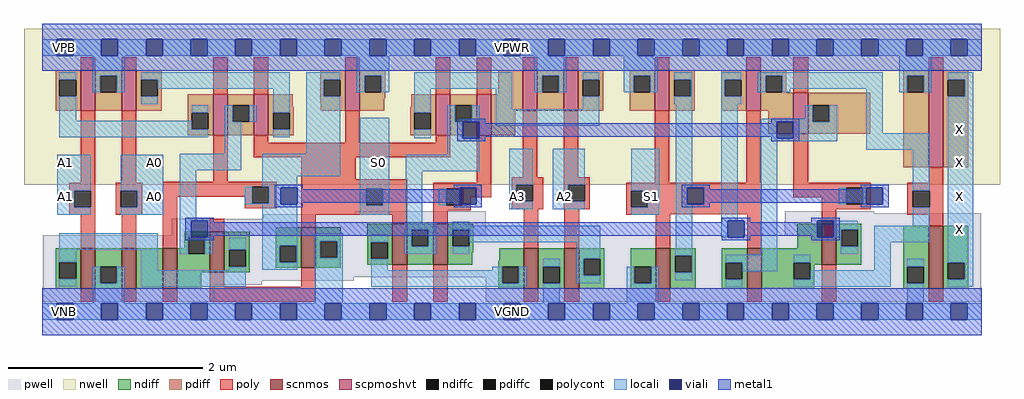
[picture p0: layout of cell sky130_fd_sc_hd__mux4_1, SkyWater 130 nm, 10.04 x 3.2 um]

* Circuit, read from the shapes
.subckt sky130_fd_sc_hd__mux4_1 A0 A1 A2 A3 S0 S1 VGND VNB VPB VPWR X
XM1 VGND A1 n1 VNB sky130_fd_pr__nfet_01v8 w=0.42 l=0.15
XM2 n2 A0 VGND VNB sky130_fd_pr__nfet_01v8 w=0.42 l=0.15
XM3 n3 n4 n2 VNB sky130_fd_pr__nfet_01v8 w=0.42 l=0.15
XM4 n1 S0 n3 VNB sky130_fd_pr__nfet_01v8 w=0.42 l=0.15
XM5 VGND S0 n4 VNB sky130_fd_pr__nfet_01v8 w=0.42 l=0.15
XM6 n5 S0 n6 VNB sky130_fd_pr__nfet_01v8 w=0.42 l=0.15
XM7 n7 n4 n5 VNB sky130_fd_pr__nfet_01v8 w=0.42 l=0.15
XM8 VGND A3 n6 VNB sky130_fd_pr__nfet_01v8 w=0.42 l=0.15
XM9 n7 A2 VGND VNB sky130_fd_pr__nfet_01v8 w=0.42 l=0.15
XM10 n8 S1 VGND VNB sky130_fd_pr__nfet_01v8 w=0.42 l=0.15
XM11 n9 S1 n5 VNB sky130_fd_pr__nfet_01v8 w=0.42 l=0.15
XM12 n3 n8 n9 VNB sky130_fd_pr__nfet_01v8 w=0.42 l=0.15
XM13 X n9 VGND VNB sky130_fd_pr__nfet_01v8 w=0.65 l=0.15
XM14 VPWR A1 n10 VPB sky130_fd_pr__pfet_01v8_hvt w=0.42 l=0.15
XM15 n11 A0 VPWR VPB sky130_fd_pr__pfet_01v8_hvt w=0.42 l=0.15
XM16 n3 n4 n10 VPB sky130_fd_pr__pfet_01v8_hvt w=0.42 l=0.15
XM17 n11 S0 n3 VPB sky130_fd_pr__pfet_01v8_hvt w=0.42 l=0.15
XM18 VPWR S0 n4 VPB sky130_fd_pr__pfet_01v8_hvt w=0.42 l=0.15
XM19 n5 S0 n12 VPB sky130_fd_pr__pfet_01v8_hvt w=0.42 l=0.15
XM20 n13 n4 n5 VPB sky130_fd_pr__pfet_01v8_hvt w=0.42 l=0.15
XM21 VPWR A3 n13 VPB sky130_fd_pr__pfet_01v8_hvt w=0.42 l=0.15
XM22 n12 A2 VPWR VPB sky130_fd_pr__pfet_01v8_hvt w=0.42 l=0.15
XM23 n8 S1 VPWR VPB sky130_fd_pr__pfet_01v8_hvt w=0.42 l=0.15
XM24 n9 S1 n3 VPB sky130_fd_pr__pfet_01v8_hvt w=0.42 l=0.15
XM25 n5 n8 n9 VPB sky130_fd_pr__pfet_01v8_hvt w=0.42 l=0.15
XM26 X n9 VPWR VPB sky130_fd_pr__pfet_01v8_hvt w=1 l=0.15
.ends

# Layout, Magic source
magic
tech sky130B
magscale 1 2
<< nwell >>
rect -38 261 1970 582
<< pwell >>
rect 642 200 912 207
rect 454 191 912 200
rect 266 157 912 191
rect 1527 203 1711 207
rect 1527 157 1931 203
rect 1 71 1931 157
rect 1 64 640 71
rect 1 55 452 64
rect 1 21 353 55
rect 912 21 1931 71
rect 29 -17 63 21
<< scnmos >>
rect 79 47 109 131
rect 163 47 193 131
rect 247 47 277 131
rect 344 81 374 165
rect 532 90 562 174
rect 720 97 750 181
rect 804 97 834 181
rect 990 47 1020 131
rect 1074 47 1104 131
rect 1262 47 1292 131
rect 1450 47 1480 131
rect 1603 97 1633 181
rect 1823 47 1853 177
<< scpmoshvt >>
rect 79 413 109 497
rect 163 413 193 497
rect 351 363 381 447
rect 435 363 465 447
rect 623 413 653 497
rect 809 363 839 447
rect 893 363 923 447
rect 988 413 1018 497
rect 1072 413 1102 497
rect 1260 413 1290 497
rect 1448 413 1478 497
rect 1545 366 1575 450
rect 1823 297 1853 497
<< ndiff >>
rect 292 153 344 165
rect 292 131 300 153
rect 27 102 79 131
rect 27 68 35 102
rect 69 68 79 102
rect 27 47 79 68
rect 109 93 163 131
rect 109 59 119 93
rect 153 59 163 93
rect 109 47 163 59
rect 193 47 247 131
rect 277 119 300 131
rect 334 119 344 153
rect 277 81 344 119
rect 374 127 426 165
rect 374 93 384 127
rect 418 93 426 127
rect 374 81 426 93
rect 480 136 532 174
rect 480 102 488 136
rect 522 102 532 136
rect 480 90 532 102
rect 562 145 614 174
rect 562 111 572 145
rect 606 111 614 145
rect 562 90 614 111
rect 668 143 720 181
rect 668 109 676 143
rect 710 109 720 143
rect 668 97 720 109
rect 750 169 804 181
rect 750 135 760 169
rect 794 135 804 169
rect 750 97 804 135
rect 834 169 886 181
rect 834 135 844 169
rect 878 135 886 169
rect 834 122 886 135
rect 1553 131 1603 181
rect 834 97 884 122
rect 940 105 990 131
rect 277 47 327 81
rect 938 93 990 105
rect 938 59 946 93
rect 980 59 990 93
rect 938 47 990 59
rect 1020 93 1074 131
rect 1020 59 1030 93
rect 1064 59 1074 93
rect 1020 47 1074 59
rect 1104 109 1156 131
rect 1104 75 1114 109
rect 1148 75 1156 109
rect 1104 47 1156 75
rect 1210 93 1262 131
rect 1210 59 1218 93
rect 1252 59 1262 93
rect 1210 47 1262 59
rect 1292 115 1344 131
rect 1292 81 1302 115
rect 1336 81 1344 115
rect 1292 47 1344 81
rect 1398 101 1450 131
rect 1398 67 1406 101
rect 1440 67 1450 101
rect 1398 47 1450 67
rect 1480 101 1603 131
rect 1480 67 1546 101
rect 1580 97 1603 101
rect 1633 169 1685 181
rect 1633 135 1643 169
rect 1677 135 1685 169
rect 1633 97 1685 135
rect 1580 67 1588 97
rect 1480 47 1588 67
rect 1771 93 1823 177
rect 1771 59 1779 93
rect 1813 59 1823 93
rect 1771 47 1823 59
rect 1853 101 1905 177
rect 1853 67 1863 101
rect 1897 67 1905 101
rect 1853 47 1905 67
<< pdiff >>
rect 27 477 79 497
rect 27 443 35 477
rect 69 443 79 477
rect 27 413 79 443
rect 109 485 163 497
rect 109 451 119 485
rect 153 451 163 485
rect 109 413 163 451
rect 193 477 245 497
rect 193 443 203 477
rect 237 443 245 477
rect 571 477 623 497
rect 193 413 245 443
rect 299 409 351 447
rect 299 375 307 409
rect 341 375 351 409
rect 299 363 351 375
rect 381 425 435 447
rect 381 391 391 425
rect 425 391 435 425
rect 381 363 435 391
rect 465 421 515 447
rect 571 443 579 477
rect 613 443 623 477
rect 571 431 623 443
rect 465 409 517 421
rect 573 413 623 431
rect 653 485 705 497
rect 653 451 663 485
rect 697 451 705 485
rect 653 439 705 451
rect 938 447 988 497
rect 653 413 703 439
rect 759 421 809 447
rect 465 375 475 409
rect 509 375 517 409
rect 465 363 517 375
rect 757 409 809 421
rect 757 375 765 409
rect 799 375 809 409
rect 757 363 809 375
rect 839 425 893 447
rect 839 391 849 425
rect 883 391 893 425
rect 839 363 893 391
rect 923 413 988 447
rect 1018 485 1072 497
rect 1018 451 1028 485
rect 1062 451 1072 485
rect 1018 413 1072 451
rect 1102 477 1154 497
rect 1102 443 1112 477
rect 1146 443 1154 477
rect 1102 413 1154 443
rect 1208 485 1260 497
rect 1208 451 1216 485
rect 1250 451 1260 485
rect 1208 413 1260 451
rect 1290 477 1342 497
rect 1290 443 1300 477
rect 1334 443 1342 477
rect 1290 413 1342 443
rect 1396 477 1448 497
rect 1396 443 1404 477
rect 1438 443 1448 477
rect 1396 413 1448 443
rect 1478 485 1530 497
rect 1478 451 1488 485
rect 1522 451 1530 485
rect 1478 450 1530 451
rect 1771 485 1823 497
rect 1771 451 1779 485
rect 1813 451 1823 485
rect 1478 413 1545 450
rect 923 363 973 413
rect 1493 366 1545 413
rect 1575 425 1703 450
rect 1575 391 1585 425
rect 1619 391 1703 425
rect 1575 366 1703 391
rect 1771 297 1823 451
rect 1853 477 1905 497
rect 1853 443 1863 477
rect 1897 443 1905 477
rect 1853 297 1905 443
<< ndiffc >>
rect 35 68 69 102
rect 119 59 153 93
rect 300 119 334 153
rect 384 93 418 127
rect 488 102 522 136
rect 572 111 606 145
rect 676 109 710 143
rect 760 135 794 169
rect 844 135 878 169
rect 946 59 980 93
rect 1030 59 1064 93
rect 1114 75 1148 109
rect 1218 59 1252 93
rect 1302 81 1336 115
rect 1406 67 1440 101
rect 1546 67 1580 101
rect 1643 135 1677 169
rect 1779 59 1813 93
rect 1863 67 1897 101
<< pdiffc >>
rect 35 443 69 477
rect 119 451 153 485
rect 203 443 237 477
rect 307 375 341 409
rect 391 391 425 425
rect 579 443 613 477
rect 663 451 697 485
rect 475 375 509 409
rect 765 375 799 409
rect 849 391 883 425
rect 1028 451 1062 485
rect 1112 443 1146 477
rect 1216 451 1250 485
rect 1300 443 1334 477
rect 1404 443 1438 477
rect 1488 451 1522 485
rect 1779 451 1813 485
rect 1585 391 1619 425
rect 1863 443 1897 477
<< poly >>
rect 79 497 109 523
rect 163 497 193 523
rect 351 447 381 523
rect 435 447 465 523
rect 623 497 653 523
rect 79 265 109 413
rect 163 265 193 413
rect 809 447 839 523
rect 893 447 923 522
rect 988 497 1018 523
rect 1072 497 1102 523
rect 1260 497 1290 523
rect 1448 497 1478 523
rect 351 267 381 363
rect 435 348 465 363
rect 623 348 653 413
rect 1545 450 1575 523
rect 1823 497 1853 523
rect 809 348 839 363
rect 435 318 839 348
rect 532 273 645 318
rect 55 249 109 265
rect 55 215 65 249
rect 99 215 109 249
rect 55 199 109 215
rect 151 249 205 265
rect 151 215 161 249
rect 195 215 205 249
rect 151 199 205 215
rect 247 257 482 267
rect 247 237 432 257
rect 79 131 109 199
rect 163 131 193 199
rect 247 131 277 237
rect 416 223 432 237
rect 466 223 482 257
rect 416 213 482 223
rect 532 253 750 273
rect 893 265 923 363
rect 988 277 1018 413
rect 1072 277 1102 413
rect 532 219 666 253
rect 700 219 750 253
rect 532 199 750 219
rect 344 165 374 191
rect 532 174 562 199
rect 720 181 750 199
rect 804 253 923 265
rect 804 219 831 253
rect 865 235 923 253
rect 965 261 1030 277
rect 865 219 881 235
rect 804 209 881 219
rect 965 227 975 261
rect 1009 227 1030 261
rect 965 211 1030 227
rect 1072 261 1126 277
rect 1260 265 1290 413
rect 1448 265 1478 413
rect 1545 265 1575 366
rect 1823 265 1853 297
rect 1072 227 1082 261
rect 1116 227 1126 261
rect 1072 211 1126 227
rect 1201 249 1480 265
rect 1201 215 1211 249
rect 1245 215 1480 249
rect 1545 255 1704 265
rect 1545 235 1654 255
rect 804 181 834 209
rect 990 131 1020 211
rect 1074 131 1104 211
rect 1201 200 1480 215
rect 1201 199 1292 200
rect 1262 131 1292 199
rect 1450 131 1480 200
rect 1603 221 1654 235
rect 1688 221 1704 255
rect 1603 211 1704 221
rect 1779 249 1853 265
rect 1779 215 1791 249
rect 1825 215 1853 249
rect 1603 181 1633 211
rect 1779 199 1853 215
rect 344 51 374 81
rect 532 51 562 90
rect 79 21 109 47
rect 163 21 193 47
rect 247 21 277 47
rect 344 21 562 51
rect 720 21 750 97
rect 804 21 834 97
rect 1823 177 1853 199
rect 990 21 1020 47
rect 1074 21 1104 47
rect 1262 21 1292 47
rect 1450 21 1480 47
rect 1603 21 1633 97
rect 1823 21 1853 47
<< polycont >>
rect 65 215 99 249
rect 161 215 195 249
rect 432 223 466 257
rect 666 219 700 253
rect 831 219 865 253
rect 975 227 1009 261
rect 1082 227 1116 261
rect 1211 215 1245 249
rect 1654 221 1688 255
rect 1791 215 1825 249
<< locali >>
rect 0 527 29 561
rect 63 527 121 561
rect 155 527 213 561
rect 247 527 305 561
rect 339 527 397 561
rect 431 527 489 561
rect 523 527 581 561
rect 615 527 673 561
rect 707 527 765 561
rect 799 527 857 561
rect 891 527 949 561
rect 983 527 1041 561
rect 1075 527 1133 561
rect 1167 527 1225 561
rect 1259 527 1317 561
rect 1351 527 1409 561
rect 1443 527 1501 561
rect 1535 527 1593 561
rect 1627 527 1685 561
rect 1719 527 1777 561
rect 1811 527 1869 561
rect 1903 527 1932 561
rect 35 477 69 493
rect 103 485 169 527
rect 103 451 119 485
rect 153 451 169 485
rect 203 477 509 493
rect 35 393 69 443
rect 237 459 509 477
rect 203 427 237 443
rect 307 409 341 425
rect 35 375 307 393
rect 35 359 341 375
rect 375 391 391 425
rect 425 391 441 425
rect 475 409 509 459
rect 375 325 409 391
rect 475 359 509 375
rect 543 477 613 493
rect 543 443 579 477
rect 647 485 713 527
rect 647 451 663 485
rect 697 451 713 485
rect 765 459 967 493
rect 543 325 613 443
rect 765 409 799 459
rect 30 249 99 323
rect 30 215 65 249
rect 30 199 99 215
rect 161 249 248 323
rect 195 215 248 249
rect 161 199 248 215
rect 282 291 409 325
rect 282 187 316 291
rect 452 279 613 325
rect 452 257 524 279
rect 416 223 432 257
rect 466 255 524 257
rect 466 223 490 255
rect 416 221 490 223
rect 35 127 237 161
rect 35 102 69 127
rect 35 52 69 68
rect 103 59 119 93
rect 153 59 169 93
rect 103 17 169 59
rect 203 85 237 127
rect 282 153 306 187
rect 282 119 300 153
rect 334 119 350 153
rect 384 127 418 152
rect 384 85 418 93
rect 452 136 524 221
rect 653 253 713 399
rect 765 357 799 375
rect 833 391 849 425
rect 883 391 899 425
rect 833 357 865 391
rect 933 417 967 459
rect 1012 485 1078 527
rect 1012 451 1028 485
rect 1062 451 1078 485
rect 1112 477 1146 493
rect 1196 485 1266 527
rect 1196 451 1216 485
rect 1250 451 1266 485
rect 1300 477 1337 493
rect 1112 417 1146 443
rect 1334 443 1337 477
rect 1300 427 1337 443
rect 933 383 1146 417
rect 833 323 899 357
rect 653 219 666 253
rect 700 219 713 253
rect 653 199 713 219
rect 747 289 899 323
rect 747 184 781 289
rect 960 261 1009 335
rect 815 219 831 253
rect 960 227 975 261
rect 865 219 881 221
rect 960 211 1009 227
rect 1050 261 1116 335
rect 1050 227 1082 261
rect 1050 211 1116 227
rect 1211 249 1269 335
rect 1245 215 1269 249
rect 1211 199 1269 215
rect 1303 255 1337 427
rect 1396 477 1438 493
rect 1396 443 1404 477
rect 1472 485 1729 493
rect 1472 451 1488 485
rect 1522 459 1729 485
rect 1522 451 1538 459
rect 1396 427 1438 443
rect 1303 221 1327 255
rect 747 169 810 184
rect 452 102 488 136
rect 522 102 524 136
rect 452 86 524 102
rect 560 145 618 161
rect 560 111 572 145
rect 606 111 618 145
rect 203 51 418 85
rect 560 17 618 111
rect 676 143 710 159
rect 744 135 760 169
rect 794 135 810 169
rect 744 119 810 135
rect 844 177 878 185
rect 844 169 1148 177
rect 878 143 1148 169
rect 844 119 878 135
rect 1099 109 1148 143
rect 1303 131 1337 221
rect 1396 187 1430 427
rect 1569 397 1585 425
rect 1478 391 1585 397
rect 1619 391 1635 425
rect 1478 357 1511 391
rect 1545 357 1635 391
rect 1478 351 1635 357
rect 1695 367 1729 459
rect 1763 485 1829 527
rect 1763 451 1779 485
rect 1813 451 1829 485
rect 1863 477 1915 493
rect 1897 443 1915 477
rect 1396 153 1410 187
rect 676 85 710 109
rect 1030 93 1064 109
rect 925 85 946 93
rect 676 59 946 85
rect 980 59 996 93
rect 676 51 996 59
rect 1099 75 1114 109
rect 1302 115 1337 131
rect 1478 117 1512 351
rect 1695 333 1825 367
rect 1638 221 1654 255
rect 1688 221 1695 255
rect 1791 249 1825 333
rect 1628 185 1676 187
rect 1628 169 1677 185
rect 1791 177 1825 215
rect 1628 153 1643 169
rect 1642 135 1643 153
rect 1642 119 1677 135
rect 1711 143 1825 177
rect 1099 59 1148 75
rect 1202 59 1218 93
rect 1252 59 1268 93
rect 1336 81 1337 115
rect 1302 65 1337 81
rect 1406 101 1512 117
rect 1440 83 1512 101
rect 1546 101 1580 117
rect 1030 17 1064 59
rect 1202 17 1268 59
rect 1406 51 1440 67
rect 1711 85 1745 143
rect 1580 67 1745 85
rect 1546 51 1745 67
rect 1779 93 1813 109
rect 1779 17 1813 59
rect 1863 101 1915 443
rect 1897 67 1915 101
rect 1863 51 1915 67
rect 0 -17 29 17
rect 63 -17 121 17
rect 155 -17 213 17
rect 247 -17 305 17
rect 339 -17 397 17
rect 431 -17 489 17
rect 523 -17 581 17
rect 615 -17 673 17
rect 707 -17 765 17
rect 799 -17 857 17
rect 891 -17 949 17
rect 983 -17 1041 17
rect 1075 -17 1133 17
rect 1167 -17 1225 17
rect 1259 -17 1317 17
rect 1351 -17 1409 17
rect 1443 -17 1501 17
rect 1535 -17 1593 17
rect 1627 -17 1685 17
rect 1719 -17 1777 17
rect 1811 -17 1869 17
rect 1903 -17 1932 17
<< viali >>
rect 29 527 63 561
rect 121 527 155 561
rect 213 527 247 561
rect 305 527 339 561
rect 397 527 431 561
rect 489 527 523 561
rect 581 527 615 561
rect 673 527 707 561
rect 765 527 799 561
rect 857 527 891 561
rect 949 527 983 561
rect 1041 527 1075 561
rect 1133 527 1167 561
rect 1225 527 1259 561
rect 1317 527 1351 561
rect 1409 527 1443 561
rect 1501 527 1535 561
rect 1593 527 1627 561
rect 1685 527 1719 561
rect 1777 527 1811 561
rect 1869 527 1903 561
rect 490 221 524 255
rect 306 153 340 187
rect 865 357 899 391
rect 858 253 892 255
rect 858 221 865 253
rect 865 221 892 253
rect 1327 221 1361 255
rect 1511 357 1545 391
rect 1410 153 1444 187
rect 1695 221 1729 255
rect 1594 153 1628 187
rect 29 -17 63 17
rect 121 -17 155 17
rect 213 -17 247 17
rect 305 -17 339 17
rect 397 -17 431 17
rect 489 -17 523 17
rect 581 -17 615 17
rect 673 -17 707 17
rect 765 -17 799 17
rect 857 -17 891 17
rect 949 -17 983 17
rect 1041 -17 1075 17
rect 1133 -17 1167 17
rect 1225 -17 1259 17
rect 1317 -17 1351 17
rect 1409 -17 1443 17
rect 1501 -17 1535 17
rect 1593 -17 1627 17
rect 1685 -17 1719 17
rect 1777 -17 1811 17
rect 1869 -17 1903 17
<< metal1 >>
rect 0 561 1932 592
rect 0 527 29 561
rect 63 527 121 561
rect 155 527 213 561
rect 247 527 305 561
rect 339 527 397 561
rect 431 527 489 561
rect 523 527 581 561
rect 615 527 673 561
rect 707 527 765 561
rect 799 527 857 561
rect 891 527 949 561
rect 983 527 1041 561
rect 1075 527 1133 561
rect 1167 527 1225 561
rect 1259 527 1317 561
rect 1351 527 1409 561
rect 1443 527 1501 561
rect 1535 527 1593 561
rect 1627 527 1685 561
rect 1719 527 1777 561
rect 1811 527 1869 561
rect 1903 527 1932 561
rect 0 496 1932 527
rect 853 391 911 397
rect 853 357 865 391
rect 899 388 911 391
rect 1499 391 1557 397
rect 1499 388 1511 391
rect 899 360 1511 388
rect 899 357 911 360
rect 853 351 911 357
rect 1499 357 1511 360
rect 1545 357 1557 391
rect 1499 351 1557 357
rect 478 255 536 261
rect 478 221 490 255
rect 524 252 536 255
rect 846 255 904 261
rect 846 252 858 255
rect 524 224 858 252
rect 524 221 536 224
rect 478 215 536 221
rect 846 221 858 224
rect 892 221 904 255
rect 846 215 904 221
rect 1315 255 1373 261
rect 1315 221 1327 255
rect 1361 252 1373 255
rect 1683 255 1741 261
rect 1683 252 1695 255
rect 1361 224 1695 252
rect 1361 221 1373 224
rect 1315 215 1373 221
rect 1683 221 1695 224
rect 1729 221 1741 255
rect 1683 215 1741 221
rect 294 187 352 193
rect 294 153 306 187
rect 340 184 352 187
rect 1398 187 1456 193
rect 1398 184 1410 187
rect 340 156 1410 184
rect 340 153 352 156
rect 294 147 352 153
rect 1398 153 1410 156
rect 1444 184 1456 187
rect 1582 187 1640 193
rect 1582 184 1594 187
rect 1444 156 1594 184
rect 1444 153 1456 156
rect 1398 147 1456 153
rect 1582 153 1594 156
rect 1628 153 1640 187
rect 1582 147 1640 153
rect 0 17 1932 48
rect 0 -17 29 17
rect 63 -17 121 17
rect 155 -17 213 17
rect 247 -17 305 17
rect 339 -17 397 17
rect 431 -17 489 17
rect 523 -17 581 17
rect 615 -17 673 17
rect 707 -17 765 17
rect 799 -17 857 17
rect 891 -17 949 17
rect 983 -17 1041 17
rect 1075 -17 1133 17
rect 1167 -17 1225 17
rect 1259 -17 1317 17
rect 1351 -17 1409 17
rect 1443 -17 1501 17
rect 1535 -17 1593 17
rect 1627 -17 1685 17
rect 1719 -17 1777 17
rect 1811 -17 1869 17
rect 1903 -17 1932 17
rect 0 -48 1932 -17
<< labels >>
flabel locali s 674 289 708 323 0 FreeSans 200 0 0 0 S0
port 5 nsew signal input
flabel locali s 30 221 64 255 0 FreeSans 200 0 0 0 A1
port 2 nsew signal input
flabel locali s 1870 221 1904 255 0 FreeSans 200 0 0 0 X
port 11 nsew signal output
flabel locali s 1870 289 1904 323 0 FreeSans 200 0 0 0 X
port 11 nsew signal output
flabel locali s 1870 357 1904 391 0 FreeSans 200 0 0 0 X
port 11 nsew signal output
flabel locali s 1235 221 1269 255 0 FreeSans 200 0 0 0 S1
port 6 nsew signal input
flabel locali s 1057 221 1091 255 0 FreeSans 200 0 0 0 A2
port 3 nsew signal input
flabel locali s 30 289 64 323 0 FreeSans 200 0 0 0 A1
port 2 nsew signal input
flabel locali s 214 289 248 323 0 FreeSans 200 0 0 0 A0
port 1 nsew signal input
flabel locali s 214 221 248 255 0 FreeSans 200 0 0 0 A0
port 1 nsew signal input
flabel locali s 1870 153 1904 187 0 FreeSans 200 0 0 0 X
port 11 nsew signal output
flabel locali s 960 221 994 255 0 FreeSans 200 0 0 0 A3
port 4 nsew signal input
flabel pwell s 29 -17 63 17 0 FreeSans 200 0 0 0 VNB
port 8 nsew ground bidirectional
flabel nwell s 29 527 63 561 0 FreeSans 200 0 0 0 VPB
port 9 nsew power bidirectional
flabel metal1 s 29 -17 63 17 0 FreeSans 200 0 0 0 VGND
port 7 nsew ground bidirectional abutment
flabel metal1 s 29 527 63 561 0 FreeSans 200 0 0 0 VPWR
port 10 nsew power bidirectional abutment
rlabel comment s 0 0 0 0 4 mux4_1
rlabel metal1 s 0 -48 1932 48 1 VGND
port 7 nsew ground bidirectional abutment
rlabel metal1 s 0 496 1932 592 1 VPWR
port 10 nsew power bidirectional abutment
<< properties >>
string FIXED_BBOX 0 0 1932 544
string GDS_END 1769790
string GDS_FILE $PDKPATH/libs.ref/sky130_fd_sc_hd/gds/sky130_fd_sc_hd.gds
string GDS_START 1754314
string LEFclass CORE
string LEFsite unithd
string LEFsymmetry X Y R90
string path 0.000 0.000 48.300 0.000 
<< end >>
